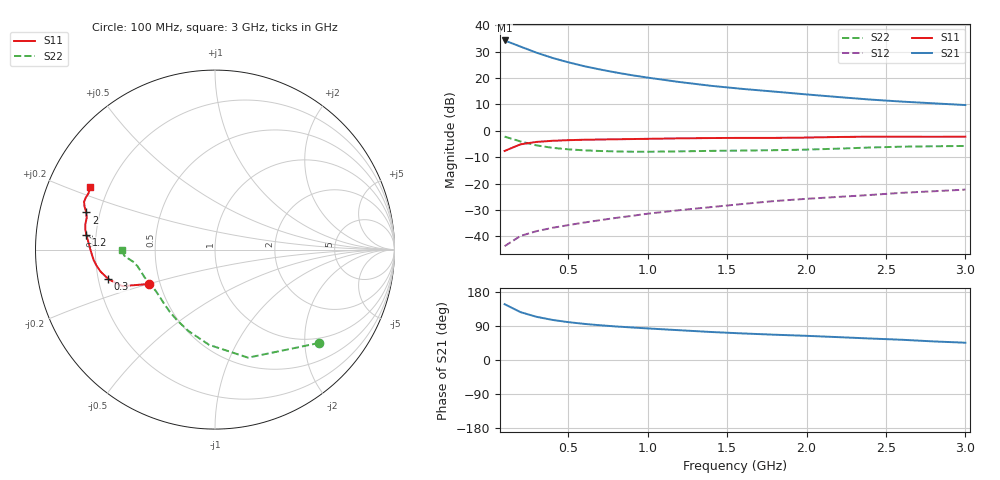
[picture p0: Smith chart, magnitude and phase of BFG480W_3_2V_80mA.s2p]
! Filename: 3_280BFG480.001
! Title: BFG480W
! Bias: Vce=3.2V; Ic=80mA
! Company: Philips Semiconductors NL
! User: Quality&Reliability T&D
! Measure time: 10 Nov 1999 / 11:57:34
#  MHz  S  MA  R 50
! Freq  S11  S21  S12  S22  :
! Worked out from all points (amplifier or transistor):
!   20 points, 100 MHz to 3 GHz, reference 50 ohm
!   highest |S21| = 34.2 dB at 100 MHz (marker M1)
!   |S21| within 3 dB of that: start of sweep to 229.6 MHz
!   unconditionally stable (mu >= 1): 780.6 MHz to end of sweep
!   at 400 MHz: K = 0.77, MSG = 32.2 dB, |S12| = -36.7 dB
!   at 1.2 GHz: K = 1.07, MAG = 22.7 dB, |S12| = -30.0 dB
!   at 3 GHz: K = 1.05, MAG = 14.6 dB, |S12| = -22.3 dB
!   S11 on the Smith chart (normalised r, x): 100 MHz: 0.43, -0.20; 300 MHz: 0.24, -0.13; 1.2 GHz: 0.16, +0.06; 2 GHz: 0.15, +0.14; 3 GHz: 0.13, +0.23
100  0.4164 -152.6  51.56 147.3  0.006546 69.2  0.779 -41.9
200  0.5556 -158.5  39.46 126.3  0.01023 59.8  0.6297 -73.0
300  0.6171 -164.6  30.31 114.0  0.01257 58.1  0.5316 -93.6
400  0.6483 -169.0  24.13 105.8  0.01455 59.2  0.4775 -107.9
500  0.6665 -172.4  19.91 99.9  0.01638 61.3  0.4469 -118.3
600  0.6786 -175.1  16.82 95.4  0.01832 63.0  0.4281 -126.1
700  0.6858 -177.5  14.55 91.7  0.02034 65.0  0.4157 -132.2
800  0.6926 -179.6  12.76 88.6  0.02243 66.7  0.4078 -137.2
900  0.6996 178.4  11.34 85.9  0.02453 68.9  0.4034 -141.5
1000  0.7069 176.6  10.2 83.3  0.02698 69.8  0.4025 -145.4
1200  0.7211 173.5  8.422 78.6  0.03146 71.6  0.4085 -151.6
1400  0.7312 171.2  7.129 73.9  0.03601 72.8  0.4178 -156.3
1600  0.7361 168.8  6.221 70.1  0.04129 73.7  0.4236 -159.8
1800  0.7362 166.2  5.533 66.7  0.04691 74.3  0.4305 -163.5
2000  0.7467 163.9  4.898 63.8  0.05164 75.0  0.4414 -167.9
2200  0.7655 161.7  4.37 60.3  0.05611 75.0  0.4604 -171.5
2400  0.7763 160.0  3.917 56.7  0.06103 74.6  0.4838 -173.9
2600  0.7765 158.3  3.583 53.4  0.06706 73.9  0.5019 -175.3
2800  0.7716 156.1  3.321 49.0  0.07178 72.5  0.5103 -177.2
3000  0.7775 153.4  3.084 45.6  0.07713 71.9  0.5176 180.0
